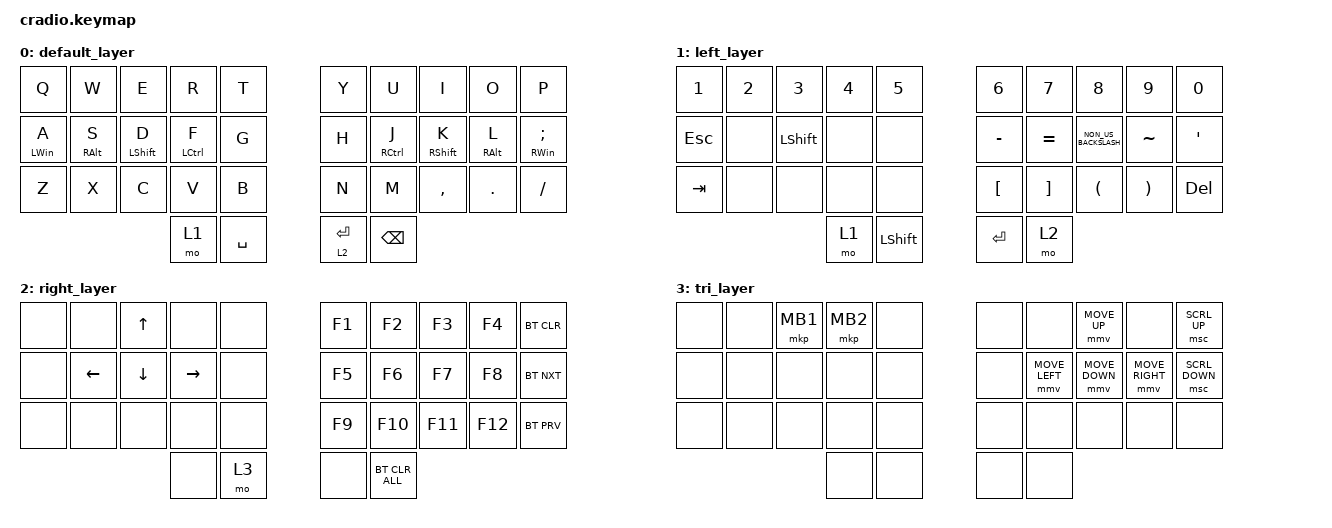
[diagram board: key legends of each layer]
/*
 * Copyright (c) 2020 The ZMK Contributors
 *
 * SPDX-License-Identifier: MIT
 */

#include <behaviors.dtsi>
#include <dt-bindings/zmk/bt.h>
#include <dt-bindings/zmk/keys.h>
#include <dt-bindings/zmk/pointing.h>

&mt {
    //  flavor = "tap-preferred";
    // tapping_term_ms = <200>;

    tapping-term-ms = <250>;
    flavor = "tap-preferred";
    bindings = <&kp>, <&kp>;
};

/ {
    combos { compatible = "zmk,combos"; };

    behaviors {
        double_tap_esc: double_tap_esc {
            compatible = "zmk,behavior-tap-dance";
            label = "DOUBLE_TAP_ESC";
            #binding-cells = <0>;
            bindings = <&kp Q>, <&kp ESCAPE>;

            tapping-term-ms = <180>;
        };

        doubletap_tab: doubletap_tab {
            compatible = "zmk,behavior-tap-dance";
            label = "DOUBLETAP_TAB";
            #binding-cells = <0>;
            bindings = <&kp A>, <&kp TAB>;

            tapping-term-ms = <500>;
        };

        hold_tap: hold_tap {
            compatible = "zmk,behavior-hold-tap";
            label = "HOLD_TAP";
            bindings = <&kp>, <&kp>;

            #binding-cells = <2>;
            tapping-term-ms = <200>;
            flavor = "tap-preferred";
            hold-trigger-key-positions = <20>;
        };
    };

    keymap {
        compatible = "zmk,keymap";

        default_layer {
            bindings = <
&kp Q           &kp W            &kp E             &kp R               &kp T        &kp Y        &kp U                &kp I              &kp O            &kp P
&mt LEFT_WIN A  &mt RIGHT_ALT S  &mt LEFT_SHIFT D  &mt LEFT_CONTROL F  &kp G        &kp H        &mt RIGHT_CONTROL J  &mt RIGHT_SHIFT K  &mt RIGHT_ALT L  &mt RIGHT_WIN SEMICOLON
&kp Z           &kp X            &kp C             &kp V               &kp B        &kp N        &kp M                &kp COMMA          &kp DOT          &kp SLASH
                                                   &mo 1               &kp SPACE    &lt 2 ENTER  &kp BACKSPACE
            >;
        };

        left_layer {
            bindings = <
&kp NUMBER_1  &kp NUMBER_2  &kp NUMBER_3    &kp NUMBER_4  &kp N5            &kp NUMBER_6      &kp N7             &kp N8                &kp N9                 &kp N0
&kp ESCAPE    &none         &kp LEFT_SHIFT  &none         &none             &kp MINUS         &kp EQUAL          &kp NON_US_BACKSLASH  &kp TILDE              &kp SQT
&kp TAB       &none         &none           &none         &none             &kp LEFT_BRACKET  &kp RIGHT_BRACKET  &kp LEFT_PARENTHESIS  &kp RIGHT_PARENTHESIS  &kp DEL
                                            &mo 1         &kp LEFT_SHIFT    &kp ENTER         &mo 2
            >;
        };

        right_layer {
            bindings = <
&none  &none     &kp UP_ARROW  &none      &none    &kp F1  &kp F2          &kp F3   &kp F4   &bt BT_CLR
&none  &kp LEFT  &kp DOWN      &kp RIGHT  &none    &kp F5  &kp F6          &kp F7   &kp F8   &bt BT_NXT
&none  &none     &none         &none      &none    &kp F9  &kp F10         &kp F11  &kp F12  &bt BT_PRV
                               &none      &mo 3    &none   &bt BT_CLR_ALL
            >;
        };

        tri_layer {
            bindings = <
&none  &none  &mkp MB1  &mkp MB2  &none    &none  &none           &mmv MOVE_UP    &none            &msc SCRL_UP
&none  &none  &none     &none     &none    &none  &mmv MOVE_LEFT  &mmv MOVE_DOWN  &mmv MOVE_RIGHT  &msc SCRL_DOWN
&none  &none  &none     &none     &none    &none  &none           &none           &none            &none
                        &none     &none    &none  &none
            >;
        };
    };
};
